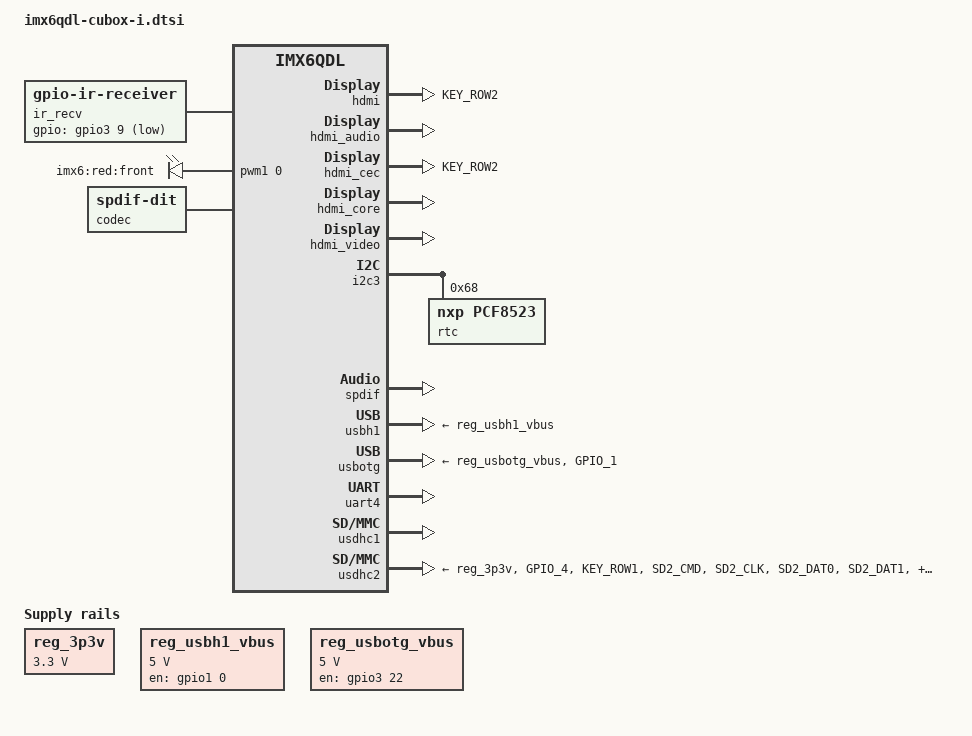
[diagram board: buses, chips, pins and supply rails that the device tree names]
/*
 * Copyright (C) 2014 Russell King
 */
#include "imx6qdl-microsom.dtsi"
#include "imx6qdl-microsom-ar8035.dtsi"

/ {
        aliases {
                mxcfb0 = &mxcfb1;
        };

	ir_recv: ir-receiver {
		compatible = "gpio-ir-receiver";
		gpios = <&gpio3 9 1>;
		pinctrl-names = "default";
		pinctrl-0 = <&pinctrl_cubox_i_ir>;
	};

	pwmleds {
		compatible = "pwm-leds";
		pinctrl-names = "default";
		pinctrl-0 = <&pinctrl_cubox_i_pwm1>;

		front {
			active-low;
			default-brightness = <128>;
			label = "imx6:red:front";
			max-brightness = <248>;
			pwms = <&pwm1 0 50000>;
		};
	};

	regulators {
		compatible = "simple-bus";

		reg_3p3v: 3p3v {
			compatible = "regulator-fixed";
			regulator-name = "3P3V";
			regulator-min-microvolt = <3300000>;
			regulator-max-microvolt = <3300000>;
			regulator-always-on;
		};

		reg_usbh1_vbus: usb-h1-vbus {
			compatible = "regulator-fixed";
			enable-active-high;
			gpio = <&gpio1 0 0>;
			pinctrl-names = "default";
			pinctrl-0 = <&pinctrl_cubox_i_usbh1_vbus>;
			regulator-name = "usb_h1_vbus";
			regulator-min-microvolt = <5000000>;
			regulator-max-microvolt = <5000000>;
		};

		reg_usbotg_vbus: usb-otg-vbus {
			compatible = "regulator-fixed";
			enable-active-high;
			gpio = <&gpio3 22 0>;
			pinctrl-names = "default";
			pinctrl-0 = <&pinctrl_cubox_i_usbotg_vbus>;
			regulator-name = "usb_otg_vbus";
			regulator-min-microvolt = <5000000>;
			regulator-max-microvolt = <5000000>;
		};
	};

	codec: spdif-transmitter {
		compatible = "linux,spdif-dit";
		pinctrl-names = "default";
		pinctrl-0 = <&pinctrl_cubox_i_spdif>;
	};

	imx-drm {
		compatible = "fsl,imx-drm";
		crtcs = <&ipu1 0>, <&ipu1 1>;
		connectors = <&hdmi>;
	};

	sound-spdif {
		compatible = "fsl,imx-audio-spdif";
		model = "imx-spdif";
		spdif-controller = <&spdif>;
		spdif-out;
	};

        sound-hdmi {
                compatible = "fsl,imx6q-audio-hdmi",
                             "fsl,imx-audio-hdmi";
                model = "imx-audio-hdmi";
                hdmi-controller = <&hdmi_audio>;
        };

        mxcfb1: mxc_sdc_fb@0 { 
                compatible = "fsl,mxc_sdc_fb";
                disp_dev = "hdmi";
                interface_pix_fmt = "RGB24";
                mode_str ="1280x720@60";
                default_bpp = <32>;
                int_clk = <0>;
                late_init = <0>;
                status = "okay";
        };

        v4l2_cap_0 {
                compatible = "fsl,imx6q-v4l2-capture";
                ipu_id = <0>;
                csi_id = <0>;
                mclk_source = <0>;
                status = "okay";
        };

        v4l2_cap_1 {
                compatible = "fsl,imx6q-v4l2-capture";
                ipu_id = <0>;
                csi_id = <1>;
                mclk_source = <0>;
                status = "okay";
        };

        v4l2_out {
                compatible = "fsl,mxc_v4l2_output";
                status = "okay";
        };
};

&hdmi {
	pinctrl-names = "default";
	pinctrl-0 = <&pinctrl_cubox_i_hdmi>;
	ddc = <&i2c2>;
	status = "okay";
	crtcs = <&ipu1 0>;
};

&hdmi_audio {
        status = "okay";
};

&hdmi_cec {
        pinctrl-names = "default";
        pinctrl-0 = <&pinctrl_cubox_i_hdmi>;
        status = "okay";
};

&hdmi_core {
        ipu_id = <1>;
        disp_id = <0>;
        status = "okay";
};

&hdmi_video {
        pinctrl-names = "default";
        pinctrl-0 = <&pinctrl_hdmi_hdcp_1>;
        fsl,phy_reg_vlev = <0x0294>;
        fsl,phy_reg_cksymtx = <0x800d>;
        fsl,hdcp;
        status = "okay";
};

&i2c2 {
	clock-frequency = <100000>;
	pinctrl-names = "default";
	pinctrl-0 = <&pinctrl_i2c2_2>;
	status = "disable";
};

&i2c3 {
	pinctrl-names = "default";
	pinctrl-0 = <&pinctrl_i2c3_1>;

	status = "okay";

	rtc: pcf8523@68 {
		compatible = "nxp,pcf8523";
		reg = <0x68>;
	};
};

&iomuxc {
	cubox_i {
		pinctrl_cubox_i_ir: cubox-i-ir {
			fsl,pins = <
				MX6QDL_PAD_EIM_DA9__GPIO3_IO09 0x80000000
			>;
		};

		pinctrl_cubox_i_hdmi: cubox-i-hdmi {
			fsl,pins = <
				MX6QDL_PAD_KEY_ROW2__HDMI_TX_CEC_LINE 0x1f8b0
			>;
		};

		pinctrl_cubox_i_pwm1: cubox-i-pwm1-front-led {
			fsl,pins = <MX6QDL_PAD_DISP0_DAT8__PWM1_OUT 0x1b0b0>;
		};

		pinctrl_cubox_i_spdif: cubox-i-spdif {
			fsl,pins = <MX6QDL_PAD_GPIO_17__SPDIF_OUT 0x1b0b0>;
		};

		pinctrl_cubox_i_usbh1_vbus: cubox-i-usbh1-vbus {
			fsl,pins = <MX6QDL_PAD_GPIO_0__GPIO1_IO00 0x4001b0b0>;
		};

		pinctrl_cubox_i_usbotg_vbus: cubox-i-usbotg-vbus {
			fsl,pins = <MX6QDL_PAD_EIM_D22__GPIO3_IO22 0x4001b0b0>;
		};

		pinctrl_cubox_i_usdhc2_aux: cubox-i-usdhc2-aux {
			fsl,pins = <
				MX6QDL_PAD_GPIO_4__GPIO1_IO04    0x1f071
				MX6QDL_PAD_KEY_ROW1__SD2_VSELECT 0x1b071
			>;
		};

		pinctrl_cubox_i_usdhc2: cubox-i-usdhc2 {
			fsl,pins = <
				MX6QDL_PAD_SD2_CMD__SD2_CMD    0x17059
				MX6QDL_PAD_SD2_CLK__SD2_CLK    0x10059
				MX6QDL_PAD_SD2_DAT0__SD2_DATA0 0x17059
				MX6QDL_PAD_SD2_DAT1__SD2_DATA1 0x17059
				MX6QDL_PAD_SD2_DAT2__SD2_DATA2 0x17059
				MX6QDL_PAD_SD2_DAT3__SD2_DATA3 0x13059
			>;
		};

		pinctrl_cubox_i_usdhc2_100mhz: cubox-i-usdhc2-100mhz {
			fsl,pins = <
				MX6QDL_PAD_SD2_CMD__SD2_CMD    0x170b9
				MX6QDL_PAD_SD2_CLK__SD2_CLK    0x100b9
				MX6QDL_PAD_SD2_DAT0__SD2_DATA0 0x170b9
				MX6QDL_PAD_SD2_DAT1__SD2_DATA1 0x170b9
				MX6QDL_PAD_SD2_DAT2__SD2_DATA2 0x170b9
				MX6QDL_PAD_SD2_DAT3__SD2_DATA3 0x130b9
			>;
		};

		pinctrl_cubox_i_usdhc2_200mhz: cubox-i-usdhc2-200mhz {
			fsl,pins = <
				MX6QDL_PAD_SD2_CMD__SD2_CMD    0x170f9
				MX6QDL_PAD_SD2_CLK__SD2_CLK    0x100f9
				MX6QDL_PAD_SD2_DAT0__SD2_DATA0 0x170f9
				MX6QDL_PAD_SD2_DAT1__SD2_DATA1 0x170f9
				MX6QDL_PAD_SD2_DAT2__SD2_DATA2 0x170f9
				MX6QDL_PAD_SD2_DAT3__SD2_DATA3 0x130f9
			>;
		};
		pinctrl_cubox_i_usbotg: cubox-i-usbotg {
			fsl,pins = <MX6QDL_PAD_GPIO_1__USB_OTG_ID 0x13059>;
		};
	};
};

&spdif {
	status = "okay";
};

&usbh1 {
	vbus-supply = <&reg_usbh1_vbus>;
	status = "okay";
};

&usbotg {
	pinctrl-names = "default";
	pinctrl-0 = <&pinctrl_cubox_i_usbotg>;
	vbus-supply = <&reg_usbotg_vbus>;
	status = "okay";
};

&uart4 {
	status = "okay";
};

&usdhc1 {
	status = "disabled";
};

&uart4 {
	status = "okay";
};

&usdhc1 {
	status = "okay";
};

&usdhc2 {
	pinctrl-names = "default", "state_100mhz", "state_200mhz";
	pinctrl-0 = <&pinctrl_cubox_i_usdhc2_aux &pinctrl_cubox_i_usdhc2>;
	pinctrl-1 = <&pinctrl_cubox_i_usdhc2_aux &pinctrl_cubox_i_usdhc2_100mhz>;
	pinctrl-2 = <&pinctrl_cubox_i_usdhc2_aux &pinctrl_cubox_i_usdhc2_200mhz>;
	vmmc-supply = <&reg_3p3v>;
	cd-gpios = <&gpio1 4 0>;
	no-1-8-v;
	status = "okay";
};
